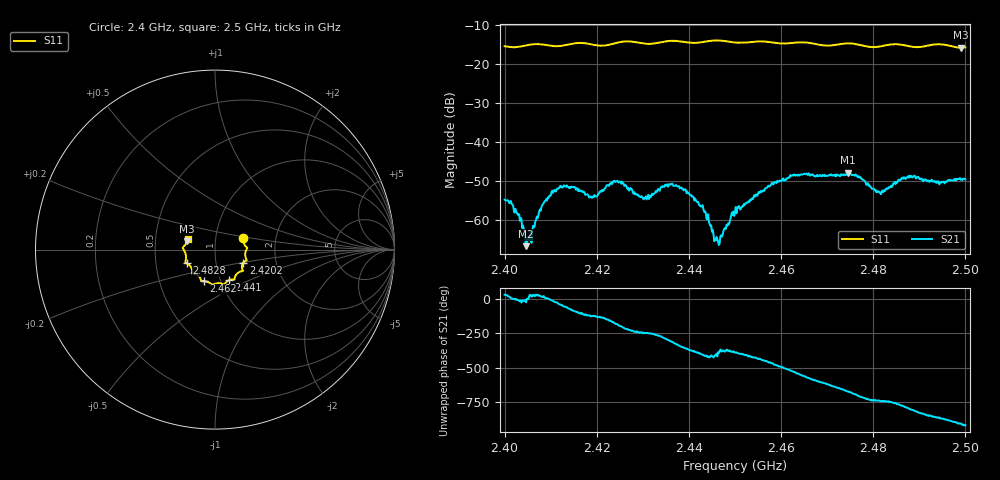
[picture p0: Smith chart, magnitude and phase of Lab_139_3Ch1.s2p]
# Hz S RI R 50
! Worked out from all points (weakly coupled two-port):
!   601 points, 2.4 GHz to 2.5 GHz, reference 50 ohm
!   highest |S21| = -47.73 dB at 2.4745 GHz (marker M1); lowest = -66.6 dB at 2.4047 GHz (marker M2)
!   lowest |S11| = -15.8 dB at 2.499 GHz (marker M3), VSWR 1.39, Z = 36.4 + j3.54 ohm
!   |S11| at or under -10 dB: start of sweep to end of sweep
!   S12 and S22 are empty: the file has one direction only
!   S11 on the Smith chart (normalised r, x): 2.4 GHz: 1.36, +0.17; 2.4202 GHz: 1.36, -0.20; 2.441 GHz: 1.10, -0.39; 2.462 GHz: 0.83, -0.30; 2.4828 GHz: 0.72, -0.11; 2.5 GHz: 0.73, +0.09
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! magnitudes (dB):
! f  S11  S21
! 2.4 GHz  -15.4  -54.7
! 2.4032 GHz  -15.5  -58.4
! 2.4047 GHz  -15.2  -66.6
! 2.4103 GHz  -15.3  -52.4
! 2.4167 GHz  -14.6  -52.6
! 2.4202 GHz  -15.2  -53.7
! 2.424 GHz  -14.6  -50.2
! 2.4303 GHz  -14.7  -54.2
! 2.4333 GHz  -14.5  -51.9
! 2.4362 GHz  -14.0  -50.8
! 2.441 GHz  -14.6  -54.0
! 2.4432 GHz  -14.3  -57.3
! 2.4462 GHz  -13.9  -64.8
! 2.45 GHz  -14.5  -57.8
! 2.462 GHz  -14.6  -48.4
! 2.4667 GHz  -14.6  -48.2
! 2.4745 GHz  -14.7  -47.7
! 2.4828 GHz  -15.1  -51.8
! 2.4833 GHz  -15.0  -51.5
! 2.4878 GHz  -15.4  -49.0
! 2.499 GHz  -15.8  -49.6
! 2.5 GHz  -15.7  -49.5
